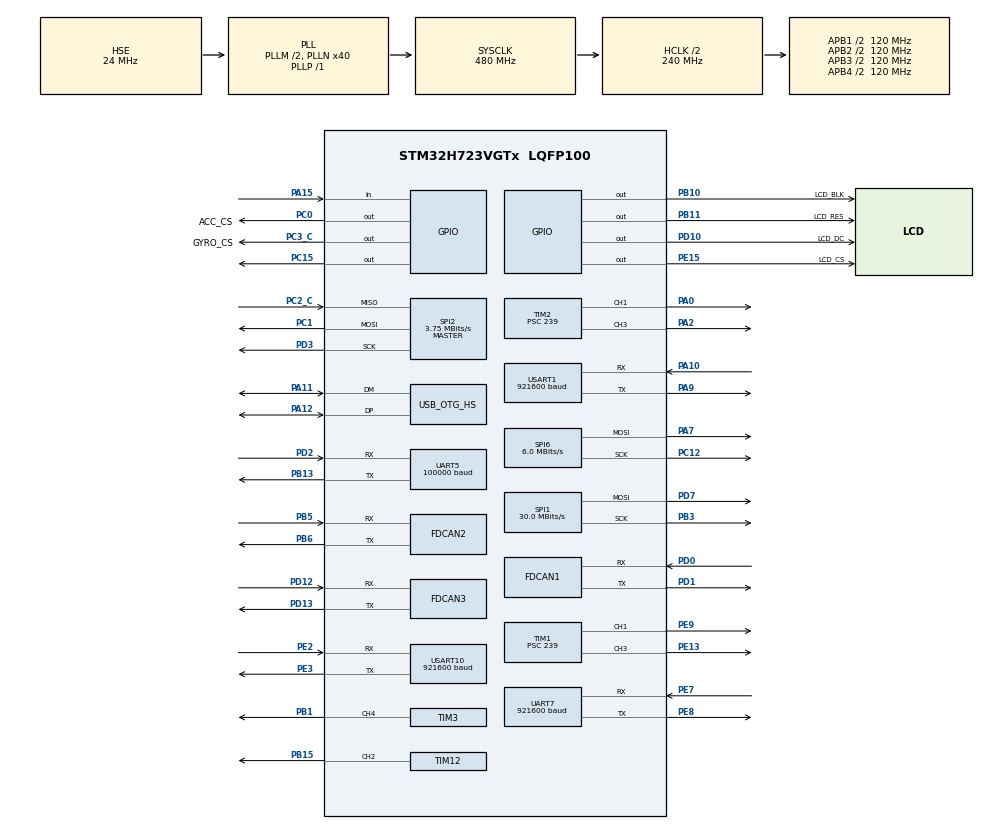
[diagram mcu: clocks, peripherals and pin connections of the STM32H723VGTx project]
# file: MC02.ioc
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CORTEX_M7.CPU_ICache=Enabled
CORTEX_M7.MPU_Control=__NULL
CORTEX_M7.default_mode_Activation=1
Dma.Request0=USART1_TX
Dma.Request1=USART1_RX
Dma.Request2=UART7_RX
Dma.Request3=UART5_RX
Dma.UART5_RX.3.Direction=DMA_PERIPH_TO_MEMORY
Dma.UART5_RX.3.EventEnable=DISABLE
Dma.UART5_RX.3.FIFOMode=DMA_FIFOMODE_DISABLE
Dma.UART5_RX.3.Instance=DMA1_Stream1
Dma.UART5_RX.3.MemDataAlignment=DMA_MDATAALIGN_BYTE
Dma.UART5_RX.3.MemInc=DMA_MINC_ENABLE
Dma.UART5_RX.3.Mode=DMA_NORMAL
Dma.UART5_RX.3.PeriphDataAlignment=DMA_PDATAALIGN_BYTE
Dma.UART5_RX.3.PeriphInc=DMA_PINC_DISABLE
Dma.UART5_RX.3.Polarity=HAL_DMAMUX_REQ_GEN_RISING
Dma.UART5_RX.3.Priority=DMA_PRIORITY_LOW
Dma.UART5_RX.3.RequestNumber=1
Dma.UART5_RX.3.SignalID=NONE
Dma.UART5_RX.3.SyncEnable=DISABLE
Dma.UART5_RX.3.SyncPolarity=HAL_DMAMUX_SYNC_NO_EVENT
Dma.UART5_RX.3.SyncRequestNumber=1
Dma.UART5_RX.3.SyncSignalID=NONE
Dma.UART7_RX.2.Direction=DMA_PERIPH_TO_MEMORY
Dma.UART7_RX.2.EventEnable=DISABLE
Dma.UART7_RX.2.FIFOMode=DMA_FIFOMODE_DISABLE
Dma.UART7_RX.2.Instance=DMA1_Stream0
Dma.UART7_RX.2.MemDataAlignment=DMA_MDATAALIGN_BYTE
Dma.UART7_RX.2.MemInc=DMA_MINC_ENABLE
Dma.UART7_RX.2.Mode=DMA_NORMAL
Dma.UART7_RX.2.PeriphDataAlignment=DMA_PDATAALIGN_BYTE
Dma.UART7_RX.2.PeriphInc=DMA_PINC_DISABLE
Dma.UART7_RX.2.Polarity=HAL_DMAMUX_REQ_GEN_RISING
Dma.UART7_RX.2.Priority=DMA_PRIORITY_LOW
Dma.UART7_RX.2.RequestNumber=1
Dma.UART7_RX.2.SignalID=NONE
Dma.UART7_RX.2.SyncEnable=DISABLE
Dma.UART7_RX.2.SyncPolarity=HAL_DMAMUX_SYNC_NO_EVENT
Dma.UART7_RX.2.SyncRequestNumber=1
Dma.UART7_RX.2.SyncSignalID=NONE
Dma.USART1_RX.1.Direction=DMA_PERIPH_TO_MEMORY
Dma.USART1_RX.1.EventEnable=DISABLE
Dma.USART1_RX.1.FIFOMode=DMA_FIFOMODE_DISABLE
Dma.USART1_RX.1.Instance=DMA1_Stream3
Dma.USART1_RX.1.MemDataAlignment=DMA_MDATAALIGN_BYTE
Dma.USART1_RX.1.MemInc=DMA_MINC_ENABLE
Dma.USART1_RX.1.Mode=DMA_NORMAL
Dma.USART1_RX.1.PeriphDataAlignment=DMA_PDATAALIGN_BYTE
Dma.USART1_RX.1.PeriphInc=DMA_PINC_DISABLE
Dma.USART1_RX.1.Polarity=HAL_DMAMUX_REQ_GEN_RISING
Dma.USART1_RX.1.Priority=DMA_PRIORITY_LOW
Dma.USART1_RX.1.RequestNumber=1
Dma.USART1_RX.1.SignalID=NONE
Dma.USART1_RX.1.SyncEnable=DISABLE
Dma.USART1_RX.1.SyncPolarity=HAL_DMAMUX_SYNC_NO_EVENT
Dma.USART1_RX.1.SyncRequestNumber=1
Dma.USART1_RX.1.SyncSignalID=NONE
Dma.USART1_TX.0.Direction=DMA_MEMORY_TO_PERIPH
Dma.USART1_TX.0.EventEnable=DISABLE
Dma.USART1_TX.0.FIFOMode=DMA_FIFOMODE_DISABLE
Dma.USART1_TX.0.Instance=DMA1_Stream2
Dma.USART1_TX.0.MemDataAlignment=DMA_MDATAALIGN_BYTE
Dma.USART1_TX.0.MemInc=DMA_MINC_ENABLE
Dma.USART1_TX.0.Mode=DMA_NORMAL
Dma.USART1_TX.0.PeriphDataAlignment=DMA_PDATAALIGN_BYTE
Dma.USART1_TX.0.PeriphInc=DMA_PINC_DISABLE
Dma.USART1_TX.0.Polarity=HAL_DMAMUX_REQ_GEN_RISING
Dma.USART1_TX.0.Priority=DMA_PRIORITY_LOW
Dma.USART1_TX.0.RequestNumber=1
Dma.USART1_TX.0.SignalID=NONE
Dma.USART1_TX.0.SyncEnable=DISABLE
Dma.USART1_TX.0.SyncPolarity=HAL_DMAMUX_SYNC_NO_EVENT
Dma.USART1_TX.0.SyncRequestNumber=1
Dma.USART1_TX.0.SyncSignalID=NONE
FDCAN1.AutoRetransmission=ENABLE
FDCAN1.CalculateBaudRateNominal=1000000
FDCAN1.CalculateTimeBitNominal=1000
FDCAN1.CalculateTimeQuantumNominal=25.0
FDCAN1.DataPrescaler=3
FDCAN1.DataSyncJumpWidth=10
FDCAN1.DataTimeSeg1=29
FDCAN1.DataTimeSeg2=10
FDCAN1.ExtFiltersNbr=1
FDCAN1.NominalPrescaler=3
FDCAN1.NominalSyncJumpWidth=10
FDCAN1.NominalTimeSeg1=29
FDCAN1.NominalTimeSeg2=10
FDCAN1.RxBuffersNbr=0
FDCAN1.RxFifo0ElmtsNbr=3
FDCAN1.RxFifo1ElmtsNbr=0
FDCAN1.StdFiltersNbr=1
FDCAN1.TxBuffersNbr=0
FDCAN1.TxEventsNbr=0
FDCAN1.TxFifoQueueElmtsNbr=3
FDCAN2.AutoRetransmission=ENABLE
FDCAN2.CalculateBaudRateNominal=1499999
FDCAN2.CalculateTimeBitNominal=666
FDCAN2.CalculateTimeQuantumNominal=8.333333333333334
FDCAN2.DataSyncJumpWidth=2
FDCAN2.DataTimeSeg1=13
FDCAN2.ExtFiltersNbr=4
FDCAN2.MessageRAMOffset=0x406
FDCAN2.NominalPrescaler=1
FDCAN2.NominalSyncJumpWidth=20
FDCAN2.NominalTimeSeg1=59
FDCAN2.NominalTimeSeg2=20
FDCAN2.RxBuffersNbr=3
FDCAN2.RxFifo0ElmtsNbr=8
FDCAN2.RxFifo1ElmtsNbr=8
FDCAN2.StdFiltersNbr=4
FDCAN2.TxBuffersNbr=8
FDCAN2.TxEventsNbr=8
FDCAN2.TxFifoQueueElmtsNbr=8
FDCAN3.AutoRetransmission=DISABLE
FDCAN3.CalculateBaudRateNominal=1499999
FDCAN3.CalculateTimeBitNominal=666
FDCAN3.CalculateTimeQuantumNominal=8.333333333333334
FDCAN3.DataSyncJumpWidth=2
FDCAN3.DataTimeSeg1=13
FDCAN3.DataTimeSeg2=2
FDCAN3.ExtFiltersNbr=4
FDCAN3.MessageRAMOffset=0x812
FDCAN3.NominalPrescaler=1
FDCAN3.NominalSyncJumpWidth=20
FDCAN3.NominalTimeSeg1=59
FDCAN3.NominalTimeSeg2=20
FDCAN3.RxBuffersNbr=2
FDCAN3.RxFifo0ElmtsNbr=8
FDCAN3.RxFifo1ElmtsNbr=8
FDCAN3.StdFiltersNbr=4
FDCAN3.TxBuffersNbr=8
FDCAN3.TxEventsNbr=8
FDCAN3.TxFifoQueueElmtsNbr=8
FREERTOS.Tasks01=defaultTask,24,512,StartDefaultTask,Default,NULL,Dynamic,NULL,NULL;Chassis,24,512,Chassis_Task,As weak,NULL,Dynamic,NULL,NULL;Tower,8,256,Tower_Task,As weak,NULL,Dynamic,NULL,NULL;Main,8,1024,Main_Task,As weak,NULL,Dynamic,NULL,NULL;Debug,8,512,Debug_Task,As weak,NULL,Dynamic,NULL,NULL;Key,8,128,Key_Task,As weak,NULL,Dynamic,NULL,NULL
FREERTOS.configCHECK_FOR_STACK_OVERFLOW=2
FREERTOS.configTOTAL_HEAP_SIZE=32768
Mcu.Family=STM32H7
Mcu.Name=STM32H723VGTx
Mcu.Package=LQFP100
NVIC.DMA1_Stream0_IRQn=true\:5\:0\:false\:false\:true\:true\:false\:true\:true
NVIC.DMA1_Stream1_IRQn=true\:5\:0\:false\:false\:true\:true\:false\:true\:true
NVIC.DMA1_Stream2_IRQn=true\:5\:0\:false\:false\:true\:true\:false\:true\:true
NVIC.DMA1_Stream3_IRQn=true\:5\:0\:false\:false\:true\:true\:false\:true\:true
NVIC.FDCAN1_IT0_IRQn=true\:5\:0\:false\:false\:true\:true\:true\:true\:true
NVIC.FDCAN1_IT1_IRQn=true\:5\:0\:false\:false\:true\:true\:true\:true\:true
NVIC.FDCAN2_IT0_IRQn=true\:5\:0\:false\:false\:true\:true\:true\:true\:true
NVIC.FDCAN2_IT1_IRQn=true\:5\:0\:false\:false\:true\:true\:true\:true\:true
NVIC.FDCAN3_IT0_IRQn=true\:5\:0\:false\:false\:true\:true\:true\:true\:true
NVIC.FDCAN3_IT1_IRQn=true\:5\:0\:false\:false\:true\:true\:true\:true\:true
NVIC.OTG_HS_IRQn=true\:5\:0\:false\:false\:true\:true\:false\:true\:true
NVIC.PriorityGroup=NVIC_PRIORITYGROUP_4
NVIC.TIM23_IRQn=true\:15\:0\:false\:false\:true\:false\:false\:true\:true
NVIC.TimeBase=TIM23_IRQn
NVIC.TimeBaseIP=TIM23
NVIC.UART5_IRQn=true\:5\:0\:false\:false\:true\:true\:true\:true\:true
NVIC.UART7_IRQn=true\:6\:0\:true\:false\:true\:true\:true\:true\:true
NVIC.USART10_IRQn=true\:5\:0\:false\:false\:true\:true\:true\:true\:true
NVIC.USART1_IRQn=true\:5\:0\:false\:false\:true\:true\:true\:true\:true
PA0.Signal=S_TIM2_CH1_ETR
PA10.Mode=Asynchronous
PA10.Signal=USART1_RX
PA11.Mode=Device_Only_FS
PA11.Signal=USB_OTG_HS_DM
PA12.Mode=Device_Only_FS
PA12.Signal=USB_OTG_HS_DP
PA13(JTMS/SWDIO).Mode=Serial_Wire
PA13(JTMS/SWDIO).Signal=DEBUG_JTMS-SWDIO
PA14(JTCK/SWCLK).Mode=Serial_Wire
PA14(JTCK/SWCLK).Signal=DEBUG_JTCK-SWCLK
PA15(JTDI).Signal=GPIO_Input
PA2.Signal=S_TIM2_CH3
PA7.GPIO_Speed=GPIO_SPEED_FREQ_LOW
PA7.Mode=TX_Only_Simplex_Unidirect_Master
PA7.Signal=SPI6_MOSI
PA9.Mode=Asynchronous
PA9.Signal=USART1_TX
PB1.Signal=S_TIM3_CH4
PB10.GPIO_Label=LCD_BLK
PB10.Signal=GPIO_Output
PB11.GPIO_Label=LCD_RES
PB11.Signal=GPIO_Output
PB13.Mode=Asynchronous
PB13.Signal=UART5_TX
PB15.Signal=S_TIM12_CH2
PB3(JTDO/TRACESWO).GPIO_Speed=GPIO_SPEED_FREQ_VERY_HIGH
PB3(JTDO/TRACESWO).Mode=TX_Only_Simplex_Unidirect_Master
PB3(JTDO/TRACESWO).Signal=SPI1_SCK
PB5.Mode=FDCAN_Activate
PB5.Signal=FDCAN2_RX
PB6.Mode=FDCAN_Activate
PB6.Signal=FDCAN2_TX
PC0.GPIO_Label=ACC_CS
PC0.GPIO_Speed=GPIO_SPEED_FREQ_VERY_HIGH
PC0.PinState=GPIO_PIN_SET
PC0.Signal=GPIO_Output
PC1.Mode=Full_Duplex_Master
PC1.Signal=SPI2_MOSI
PC12.GPIO_Speed=GPIO_SPEED_FREQ_LOW
PC12.Mode=TX_Only_Simplex_Unidirect_Master
PC12.Signal=SPI6_SCK
PC15-OSC32_OUT.Signal=GPIO_Output
PC2_C.Mode=Full_Duplex_Master
PC2_C.Signal=SPI2_MISO
PC3_C.GPIO_Label=GYRO_CS
PC3_C.GPIO_Speed=GPIO_SPEED_FREQ_HIGH
PC3_C.PinState=GPIO_PIN_SET
PC3_C.Signal=GPIO_Output
PD0.Mode=FDCAN_Activate
PD0.Signal=FDCAN1_RX
PD1.Mode=FDCAN_Activate
PD1.Signal=FDCAN1_TX
PD10.GPIO_Label=LCD_DC
PD10.Signal=GPIO_Output
PD12.Mode=FDCAN_Activate
PD12.Signal=FDCAN3_RX
PD13.Mode=FDCAN_Activate
PD13.Signal=FDCAN3_TX
PD2.Mode=Asynchronous
PD2.Signal=UART5_RX
PD3.Mode=Full_Duplex_Master
PD3.Signal=SPI2_SCK
PD7.GPIO_Speed=GPIO_SPEED_FREQ_VERY_HIGH
PD7.Mode=TX_Only_Simplex_Unidirect_Master
PD7.Signal=SPI1_MOSI
PE13.Signal=S_TIM1_CH3
PE15.GPIO_Label=LCD_CS
PE15.Signal=GPIO_Output
PE2.Mode=Asynchronous
PE2.Signal=USART10_RX
PE3.Mode=Asynchronous
PE3.Signal=USART10_TX
PE7.Mode=Asynchronous
PE7.Signal=UART7_RX
PE8.Mode=Asynchronous
PE8.Signal=UART7_TX
PE9.Signal=S_TIM1_CH1
PH0-OSC_IN.Mode=HSE-External-Oscillator
PH0-OSC_IN.Signal=RCC_OSC_IN
PH1-OSC_OUT.Mode=HSE-External-Oscillator
PH1-OSC_OUT.Signal=RCC_OSC_OUT
ProjectManager.HeapSize=0x200
ProjectManager.StackSize=0x400
ProjectManager.TargetToolchain=CMake
RCC.ADCFreq_Value=96000000
RCC.APB1Freq_Value=120000000
RCC.APB2Freq_Value=120000000
RCC.APB3Freq_Value=120000000
RCC.APB4Freq_Value=120000000
RCC.CortexFreq_Value=480000000
RCC.D1PPRE=RCC_APB3_DIV2
RCC.D2PPRE1=RCC_APB1_DIV2
RCC.D2PPRE2=RCC_APB2_DIV2
RCC.D3PPRE=RCC_APB4_DIV2
RCC.DIVM1=2
RCC.DIVM2=2
RCC.DIVM3=2
RCC.DIVN1=40
RCC.DIVN2=16
RCC.DIVN3=20
RCC.DIVP1=1
RCC.DIVP3=3
RCC.DIVQ1=4
RCC.HCLKFreq_Value=240000000
RCC.HPRE=RCC_HCLK_DIV2
RCC.HSE_VALUE=24000000
RCC.PLL2FRACN=0
RCC.PLL3FRACN=0
RCC.PLLFRACN=0
RCC.PLLSourceVirtual=RCC_PLLSOURCE_HSE
RCC.SPI6CLockSelection=RCC_SPI6CLKSOURCE_HSE
RCC.SYSCLKFreq_VALUE=480000000
RCC.SYSCLKSource=RCC_SYSCLKSOURCE_PLLCLK
RCC.USBCLockSelection=RCC_USBCLKSOURCE_HSI48
RCC.USBFreq_Value=48000000
SH.S_TIM12_CH2.0=TIM12_CH2,PWM Generation2 CH2
SH.S_TIM1_CH1.0=TIM1_CH1,PWM Generation1 CH1
SH.S_TIM1_CH3.0=TIM1_CH3,PWM Generation3 CH3
SH.S_TIM2_CH1_ETR.0=TIM2_CH1,PWM Generation1 CH1
SH.S_TIM2_CH3.0=TIM2_CH3,PWM Generation3 CH3
SH.S_TIM3_CH4.0=TIM3_CH4,PWM Generation4 CH4
SPI1.BaudRatePrescaler=SPI_BAUDRATEPRESCALER_4
SPI1.CLKPolarity=SPI_POLARITY_HIGH
SPI1.CalculateBaudRate=30.0 MBits/s
SPI1.DataSize=SPI_DATASIZE_8BIT
SPI1.Direction=SPI_DIRECTION_2LINES_TXONLY
SPI1.Mode=SPI_MODE_MASTER
SPI1.VirtualType=VM_MASTER
SPI2.BaudRatePrescaler=SPI_BAUDRATEPRESCALER_32
SPI2.CLKPhase=SPI_PHASE_2EDGE
SPI2.CLKPolarity=SPI_POLARITY_HIGH
SPI2.CalculateBaudRate=3.75 MBits/s
SPI2.DataSize=SPI_DATASIZE_8BIT
SPI2.Direction=SPI_DIRECTION_2LINES
SPI2.Mode=SPI_MODE_MASTER
SPI2.VirtualType=VM_MASTER
SPI6.BaudRatePrescaler=SPI_BAUDRATEPRESCALER_4
SPI6.CLKPhase=SPI_PHASE_2EDGE
SPI6.CalculateBaudRate=6.0 MBits/s
SPI6.DataSize=SPI_DATASIZE_8BIT
SPI6.Direction=SPI_DIRECTION_2LINES_TXONLY
SPI6.Mode=SPI_MODE_MASTER
SPI6.VirtualType=VM_MASTER
TIM1.Channel-PWM\ Generation1\ CH1=TIM_CHANNEL_1
TIM1.Channel-PWM\ Generation3\ CH3=TIM_CHANNEL_3
TIM1.CounterMode=TIM_COUNTERMODE_UP
TIM1.OCPolarity_1=TIM_OCPOLARITY_HIGH
TIM1.OCPolarity_3=TIM_OCPOLARITY_HIGH
TIM1.Period=19999
TIM1.Prescaler=239
TIM1.Pulse-PWM\ Generation1\ CH1=1500
TIM1.Pulse-PWM\ Generation3\ CH3=1500
TIM12.Channel-PWM\ Generation2\ CH2=TIM_CHANNEL_2
TIM12.Period=2000-1
TIM12.Prescaler=24-1
TIM2.Channel-PWM\ Generation1\ CH1=TIM_CHANNEL_1
TIM2.Channel-PWM\ Generation3\ CH3=TIM_CHANNEL_3
TIM2.OCPolarity_1=TIM_OCPOLARITY_HIGH
TIM2.OCPolarity_3=TIM_OCPOLARITY_HIGH
TIM2.Period=19999
TIM2.Prescaler=239
TIM2.Pulse-PWM\ Generation1\ CH1=1500
TIM2.Pulse-PWM\ Generation3\ CH3=1500
TIM3.Channel-PWM\ Generation4\ CH4=TIM_CHANNEL_4
TIM3.Period=10000-1
TIM3.Prescaler=24-1
UART5.BaudRate=100000
UART5.Parity=PARITY_EVEN
UART5.StopBits=UART_STOPBITS_2
UART5.WordLength=WORDLENGTH_9B
UART7.BaudRate=921600
USART1.BaudRate=921600
USART1.VirtualMode-Asynchronous=VM_ASYNC
USART10.BaudRate=921600
USART10.VirtualMode=VM_ASYNC
USB_DEVICE.CLASS_NAME_HS=CDC
USB_DEVICE.VirtualMode=Cdc
USB_DEVICE.VirtualModeHS=Cdc_HS
USB_OTG_HS.VirtualMode-Device_Only_FS=Device_Only_FS
VP_FREERTOS_VS_CMSIS_V2.Mode=CMSIS_V2
VP_MEMORYMAP_VS_MEMORYMAP.Mode=CurAppReg
VP_SYS_VS_tim23.Mode=TIM23
VP_USB_DEVICE_VS_USB_DEVICE_CDC_HS.Mode=CDC_HS
board=custom

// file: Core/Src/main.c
/* USER CODE BEGIN Header */
/**
  ******************************************************************************
  * @file           : main.c
  * @brief          : Main program body
  ******************************************************************************
  * @attention
  *
  * Copyright (c) 2026 STMicroelectronics.
  * All rights reserved.
  *
  * This software is licensed under terms that can be found in the LICENSE file
  * in the root directory of this software component.
  * If no LICENSE file comes with this software, it is provided AS-IS.
  *
  ******************************************************************************
  */
/* USER CODE END Header */
#include "main.h"
#include "FreeRTOS.h"
#include "cmsis_os2.h"
#include "dma.h"
#include "fdcan.h"
#include "spi.h"
#include "tim.h"
#include "usart.h"
#include "usb_device.h"
#include "gpio.h"

/* USER CODE BEGIN Includes */
#include "bsp_ws2812.h"
#include "bsp_dwt.h"
#include "dvc_yis320.h"
/* USER CODE END Includes */

void SystemClock_Config(void);
void MX_FREERTOS_Init(void);

int main(void)
{

  /* Enable the CPU Cache */

  /* Enable I-Cache---------------------------------------------------------*/
  SCB_EnableICache();

  /* MCU Configuration--------------------------------------------------------*/

  /* Reset of all peripherals, Initializes the Flash interface and the Systick. */
  HAL_Init();

  /* Configure the system clock */
  SystemClock_Config();

  /* Initialize all configured peripherals */
  MX_GPIO_Init();
  MX_DMA_Init();
  MX_FDCAN1_Init();
  MX_FDCAN2_Init();
  MX_FDCAN3_Init();
  MX_USART1_UART_Init();
  MX_TIM1_Init();
  MX_TIM2_Init();
  MX_SPI1_Init();
  MX_SPI6_Init();
  MX_TIM12_Init();
  MX_SPI2_Init();
  MX_TIM3_Init();
  MX_UART7_Init();
  MX_USART10_UART_Init();
  MX_UART5_Init();
  /* USER CODE BEGIN 2 */
  /* DWT 由 CPU 时钟(480MHz)驱动, 用 SystemCoreClock 以便时钟树变更后自动跟随 */
  DWT_Init(SystemCoreClock / 1000000U);

  IMU_init();
  IMU_RxStart();
  /* USER CODE END 2 */

  /* Init scheduler */
  osKernelInitialize();  /* Call init function for freertos objects (in cmsis_os2.c) */
  MX_FREERTOS_Init();

  /* Start scheduler */
  osKernelStart();

  /* We should never get here as control is now taken by the scheduler */

  /* Infinite loop */
  while (1)
  {

  }
}

void SystemClock_Config(void)
{
  RCC_OscInitTypeDef RCC_OscInitStruct = {0};
  RCC_ClkInitTypeDef RCC_ClkInitStruct = {0};

  /** Supply configuration update enable
  */
  HAL_PWREx_ConfigSupply(PWR_LDO_SUPPLY);

  /** Configure the main internal regulator output voltage
  */
  __HAL_PWR_VOLTAGESCALING_CONFIG(PWR_REGULATOR_VOLTAGE_SCALE0);

  while(!__HAL_PWR_GET_FLAG(PWR_FLAG_VOSRDY)) {}

  /** Initializes the RCC Oscillators according to the specified parameters
  * in the RCC_OscInitTypeDef structure.
  */
  RCC_OscInitStruct.OscillatorType = RCC_OSCILLATORTYPE_HSI48|RCC_OSCILLATORTYPE_HSE;
  RCC_OscInitStruct.HSEState = RCC_HSE_ON;
  RCC_OscInitStruct.HSI48State = RCC_HSI48_ON;
  RCC_OscInitStruct.PLL.PLLState = RCC_PLL_ON;
  RCC_OscInitStruct.PLL.PLLSource = RCC_PLLSOURCE_HSE;
  RCC_OscInitStruct.PLL.PLLM = 2;
  RCC_OscInitStruct.PLL.PLLN = 40;
  RCC_OscInitStruct.PLL.PLLP = 1;
  RCC_OscInitStruct.PLL.PLLQ = 4;
  RCC_OscInitStruct.PLL.PLLR = 2;
  RCC_OscInitStruct.PLL.PLLRGE = RCC_PLL1VCIRANGE_3;
  RCC_OscInitStruct.PLL.PLLVCOSEL = RCC_PLL1VCOWIDE;
  RCC_OscInitStruct.PLL.PLLFRACN = 0;
  if (HAL_RCC_OscConfig(&RCC_OscInitStruct) != HAL_OK)
  {
    Error_Handler();
  }

  /** Initializes the CPU, AHB and APB buses clocks
  */
  RCC_ClkInitStruct.ClockType = RCC_CLOCKTYPE_HCLK|RCC_CLOCKTYPE_SYSCLK
                              |RCC_CLOCKTYPE_PCLK1|RCC_CLOCKTYPE_PCLK2
                              |RCC_CLOCKTYPE_D3PCLK1|RCC_CLOCKTYPE_D1PCLK1;
  RCC_ClkInitStruct.SYSCLKSource = RCC_SYSCLKSOURCE_PLLCLK;
  RCC_ClkInitStruct.SYSCLKDivider = RCC_SYSCLK_DIV1;
  RCC_ClkInitStruct.AHBCLKDivider = RCC_HCLK_DIV2;
  RCC_ClkInitStruct.APB3CLKDivider = RCC_APB3_DIV2;
  RCC_ClkInitStruct.APB1CLKDivider = RCC_APB1_DIV2;
  RCC_ClkInitStruct.APB2CLKDivider = RCC_APB2_DIV2;
  RCC_ClkInitStruct.APB4CLKDivider = RCC_APB4_DIV2;

  if (HAL_RCC_ClockConfig(&RCC_ClkInitStruct, FLASH_LATENCY_3) != HAL_OK)
  {
    Error_Handler();
  }
}

void HAL_TIM_PeriodElapsedCallback(TIM_HandleTypeDef *htim)
{
  if (htim->Instance == TIM23)
  {
    HAL_IncTick();
  }
}

void Error_Handler(void)
{
  /* USER CODE BEGIN Error_Handler_Debug */
  /* User can add his own implementation to report the HAL error return state */
  /* 没有调试器：上电瞬间就亮红灯 = 卡在某个外设初始化（Error_Handler），
   * 此时调度器还没启动，和栈溢出/任务创建失败的灯一样红，但时间点不同。 */
  WS2812_Ctrl(255, 0, 0);
  __disable_irq();
  while (1)
  {
  }
  /* USER CODE END Error_Handler_Debug */
}

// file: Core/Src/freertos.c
/* USER CODE BEGIN Header */
/**
  ******************************************************************************
  * File Name          : freertos.c
  * Description        : Code for freertos applications
  ******************************************************************************
  * @attention
  *
  * Copyright (c) 2026 STMicroelectronics.
  * All rights reserved.
  *
  * This software is licensed under terms that can be found in the LICENSE file
  * in the root directory of this software component.
  * If no LICENSE file comes with this software, it is provided AS-IS.
  *
  ******************************************************************************
  */
/* USER CODE END Header */

#include "FreeRTOS.h"
#include "task.h"
#include "main.h"
#include "FreeRTOS.h"
#include "cmsis_os2.h"

/* USER CODE BEGIN Includes */
#include "bsp_ws2812.h"
/* USER CODE END Includes */

/* Definitions for defaultTask */
osThreadId_t defaultTaskHandle;
const osThreadAttr_t defaultTask_attributes = {
  .name = "defaultTask",
  .stack_size = 512 * 4,
  .priority = (osPriority_t) osPriorityNormal,
};
/* Definitions for Chassis */
osThreadId_t ChassisHandle;
const osThreadAttr_t Chassis_attributes = {
  .name = "Chassis",
  .stack_size = 512 * 4,
  .priority = (osPriority_t) osPriorityNormal,
};
/* Definitions for Tower */
osThreadId_t TowerHandle;
const osThreadAttr_t Tower_attributes = {
  .name = "Tower",
  .stack_size = 256 * 4,
  .priority = (osPriority_t) osPriorityLow,
};
/* Definitions for Main */
osThreadId_t MainHandle;
const osThreadAttr_t Main_attributes = {
  .name = "Main",
  .stack_size = 1024 * 4,
  .priority = (osPriority_t) osPriorityLow,
};
/* Definitions for Debug */
osThreadId_t DebugHandle;
const osThreadAttr_t Debug_attributes = {
  .name = "Debug",
  .stack_size = 512 * 4,
  .priority = (osPriority_t) osPriorityLow,
};
/* Definitions for Key */
osThreadId_t KeyHandle;
const osThreadAttr_t Key_attributes = {
  .name = "Key",
  .stack_size = 128 * 4,
  .priority = (osPriority_t) osPriorityLow,
};

void StartDefaultTask(void *argument);
void Chassis_Task(void *argument);
void Tower_Task(void *argument);
void Main_Task(void *argument);
void Debug_Task(void *argument);
void Key_Task(void *argument);

extern void MX_USB_DEVICE_Init(void);
void MX_FREERTOS_Init(void); /* (MISRA C 2004 rule 8.1) */

/* Hook prototypes */
void vApplicationStackOverflowHook(xTaskHandle xTask, char *pcTaskName);

/* USER CODE BEGIN 4 */
void vApplicationStackOverflowHook(xTaskHandle xTask, char *pcTaskName)
{
   /* Run time stack overflow checking is performed if
   configCHECK_FOR_STACK_OVERFLOW is defined to 1 or 2. This hook function is
   called if a stack overflow is detected. */

   /* 没有调试器，所以用灯珠报告：常亮纯红 = 任务栈溢出。
    * 注意不要在这里返回 —— 溢出后栈已经不可信了。 */
   (void)xTask;
   (void)pcTaskName;

   WS2812_Ctrl(255, 0, 0);
   for (;;) { }
}
/* USER CODE END 4 */

void MX_FREERTOS_Init(void) {

  /* Create the thread(s) */
  /* creation of defaultTask */
  defaultTaskHandle = osThreadNew(StartDefaultTask, NULL, &defaultTask_attributes);

  /* creation of Chassis */
  ChassisHandle = osThreadNew(Chassis_Task, NULL, &Chassis_attributes);

  /* creation of Tower */
  TowerHandle = osThreadNew(Tower_Task, NULL, &Tower_attributes);

  /* creation of Main */
  MainHandle = osThreadNew(Main_Task, NULL, &Main_attributes);

  /* creation of Debug */
  DebugHandle = osThreadNew(Debug_Task, NULL, &Debug_attributes);

  /* creation of Key */
  KeyHandle = osThreadNew(Key_Task, NULL, &Key_attributes);

  /* USER CODE BEGIN RTOS_THREADS */

  __set_BASEPRI(0U);

  /* 品红常亮 = 有任务返回 NULL（堆不够）。osThreadNew 失败时既不报错也不跑，
   * 只能这样看出来。 */
  if ((defaultTaskHandle == NULL) || (ChassisHandle == NULL) || (TowerHandle == NULL) ||
      (MainHandle == NULL) || (DebugHandle == NULL))
  {
    WS2812_Ctrl(255, 0, 255);
    for (;;) { }
  }
  /* USER CODE END RTOS_THREADS */

}

void StartDefaultTask(void *argument)
{
  /* init code for USB_DEVICE */
  MX_USB_DEVICE_Init();
  /* USER CODE BEGIN StartDefaultTask */

  __set_BASEPRI(0U);

  /* Infinite loop */
  for(;;)
  {
    osDelay(1);
  }
  /* USER CODE END StartDefaultTask */
}

__weak void Chassis_Task(void *argument)
{
  for(;;)
  {
    osDelay(1);
  }
}

__weak void Tower_Task(void *argument)
{
  for(;;)
  {
    osDelay(1);
  }
}

__weak void Main_Task(void *argument)
{
  for(;;)
  {
    osDelay(1);
  }
}

__weak void Debug_Task(void *argument)
{
  for(;;)
  {
    osDelay(1);
  }
}

__weak void Key_Task(void *argument)
{
  for(;;)
  {
    osDelay(1);
  }
}

/* USER CODE BEGIN Application */

/* 栈溢出钩子已挪到文件上方的 USER CODE BEGIN 4 段 —— 那是 CubeMX 为它准备的
 * 位置，重新生成代码时会保留。这里不要再定义一遍，否则会重复定义。 */

/* USER CODE END Application */
